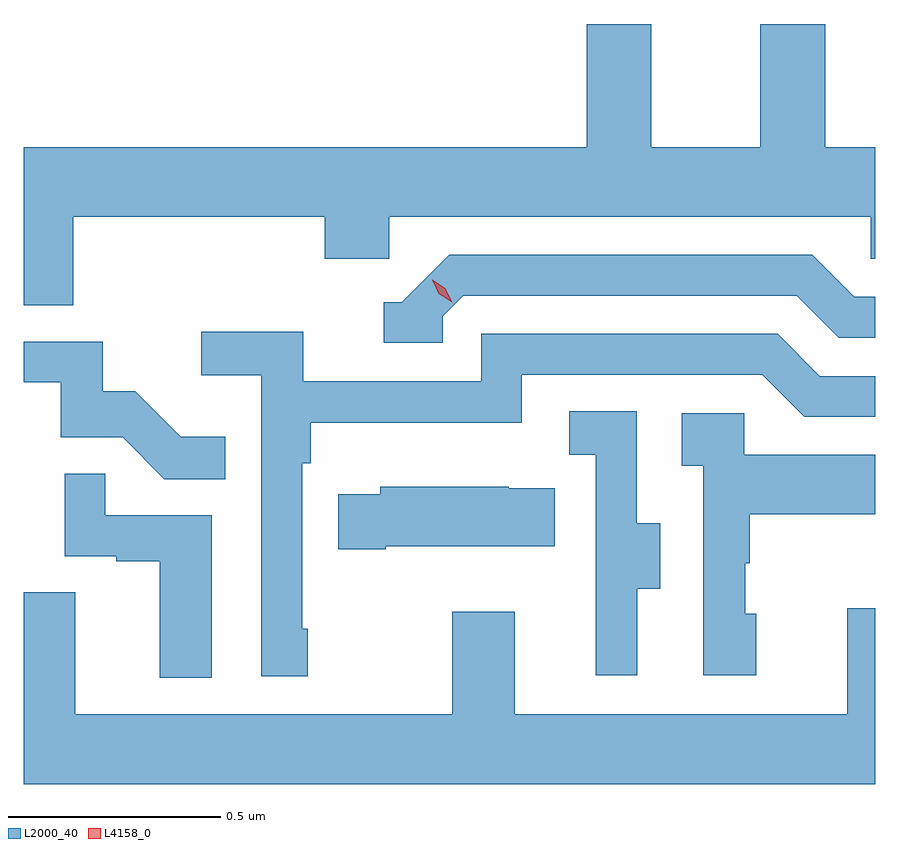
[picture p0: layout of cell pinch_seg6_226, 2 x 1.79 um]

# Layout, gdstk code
import gdstk
lib = gdstk.Library(unit=1e-6, precision=1e-09)
def P(c, l, *ps):  # polygons
    for p in ps: c.add(gdstk.Polygon(p, *l))
L2000_40 = (2000, 40)
L4158_0 = (4158, 0)

pinch_seg6_226 = lib.new_cell('pinch_seg6_226')
P(pinch_seg6_226, L2000_40, [(1099.653,929.922),(1099.664,929.922),(1099.664,930.184),(1099.547,930.184),(1099.547,930.473),(1099.394,930.473),(1099.394,930.184),(1099.138,930.184),(1099.138,930.473),(1098.986,930.473),(1098.986,930.184),(1097.664,930.184),(1097.664,929.812),(1097.78,929.812),(1097.78,930.02),(1098.371,930.02),(1098.371,929.922),(1098.522,929.922),(1098.522,930.02),(1099.653,930.02)],
  [(1098.648,929.787),(1098.696,929.835),(1099.479,929.835),(1099.578,929.736),(1099.664,929.736),(1099.664,929.832),(1099.615,929.832),(1099.516,929.931),(1098.663,929.931),(1098.552,929.82),(1098.509,929.82),(1098.509,929.724),(1098.648,929.724)],
  [(1098.331,929.053),(1098.318,929.053),(1098.318,929.441),(1098.338,929.441),(1098.338,929.537),(1098.834,929.537),(1098.834,929.649),(1099.398,929.649),(1099.497,929.55),(1099.664,929.55),(1099.664,929.646),(1099.534,929.646),(1099.435,929.745),(1098.738,929.745),(1098.738,929.634),(1098.32,929.634),(1098.32,929.75),(1098.081,929.75),(1098.081,929.648),(1098.222,929.648),(1098.222,928.941),(1098.331,928.941)],
  [(1098.137,929.503),(1098.033,929.503),(1097.926,929.61),(1097.85,929.61),(1097.85,929.727),(1097.664,929.727),(1097.664,929.631),(1097.751,929.631),(1097.751,929.502),(1097.896,929.502),(1097.994,929.404),(1098.137,929.404)],
  [(1099.105,929.146),(1099.159,929.146),(1099.159,929.301),(1099.104,929.301),(1099.104,929.564),(1098.945,929.564),(1098.945,929.461),(1099.008,929.461),(1099.008,929.157),(1099.007,929.157),(1099.007,928.944),(1099.105,928.944)],
  [(1099.384,929.088),(1099.359,929.088),(1099.359,929.207),(1099.369,929.207),(1099.369,929.321),(1099.664,929.321),(1099.664,929.461),(1099.356,929.461),(1099.356,929.559),(1099.209,929.559),(1099.209,929.435),(1099.26,929.435),(1099.26,928.944),(1099.384,928.944)],
  [(1098.106,929.319),(1097.855,929.319),(1097.855,929.417),(1097.76,929.417),(1097.76,929.223),(1097.881,929.223),(1097.881,929.211),(1097.984,929.211),(1097.984,928.937),(1098.106,928.937)],
  [(1098.514,929.246),(1098.911,929.246),(1098.911,929.383),(1098.803,929.383),(1098.803,929.386),(1098.501,929.386),(1098.501,929.368),(1098.403,929.368),(1098.403,929.239),(1098.514,929.239)],
  [(1099.664,929.101),(1099.598,929.101),(1099.598,928.852),(1098.817,928.852),(1098.817,929.092),(1098.67,929.092),(1098.67,928.852),(1097.785,928.852),(1097.785,929.138),(1097.664,929.138),(1097.664,928.688),(1099.664,928.688)])
P(pinch_seg6_226, L4158_0, [(1098.67,929.819),(1098.639,929.839),(1098.624,929.872),(1098.624,929.872),(1098.624,929.872),(1098.654,929.852),(1098.67,929.819),(1098.67,929.819)])

lib.write_gds('pinch_seg6_226.gds')
